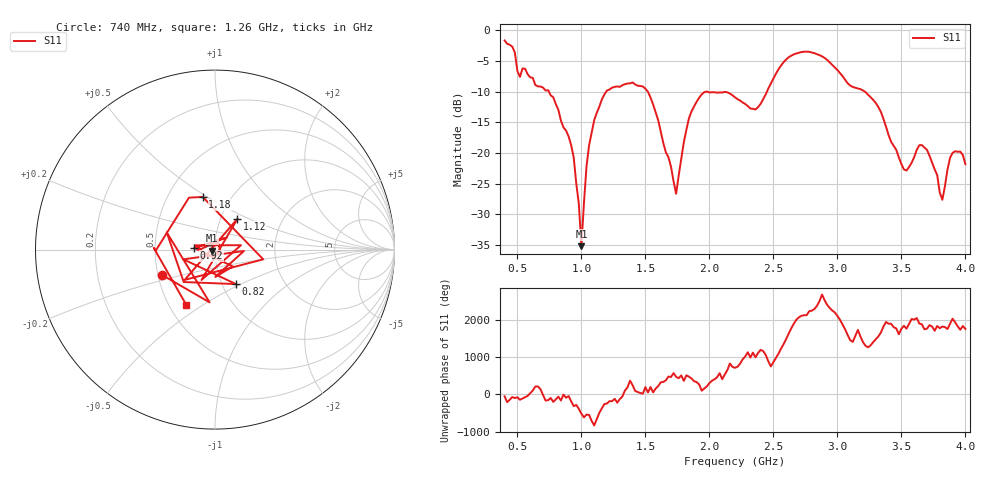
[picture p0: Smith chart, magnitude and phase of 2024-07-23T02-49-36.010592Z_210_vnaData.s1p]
!Created with skrf (http://scikit-rf.org).
# Hz S RI R 50.0
!freq ReS11 ImS11
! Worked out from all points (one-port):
!   181 points, 400 MHz to 4 GHz, reference 50 ohm
!   lowest |S11| = -35.2 dB at 1 GHz (marker M1), VSWR 1.04, Z = 48.4 - j0.582 ohm
!   |S11| at or under -10 dB: 1.52 GHz to 1.974 GHz (454.5 MHz wide, 26 % of centre); 1.984 GHz to 2.449 GHz (465.3 MHz wide, 21 % of centre); 3.216 GHz to end of sweep (the widest 3 of 4)
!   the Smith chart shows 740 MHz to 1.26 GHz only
!   S11 on the Smith chart (normalised r, x): 740 MHz: 0.53, -0.17; 820 MHz: 1.16, -0.47; 920 MHz: 0.79, +0.01; 1.12 GHz: 1.20, +0.43; 1.18 GHz: 0.74, +0.48; 1.26 GHz: 0.61, -0.43
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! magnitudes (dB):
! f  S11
! 400 MHz  -1.6
! 520 MHz  -7.6
! 740 MHz  -9.7
! 820 MHz  -13.0
! 860 MHz  -15.8
! 920 MHz  -18.7
! 980 MHz  -28.3
! 1 GHz  -35.2
! 1.04 GHz  -22.2
! 1.12 GHz  -13.5
! 1.18 GHz  -10.4
! 1.26 GHz  -9.2
! 1.3 GHz  -9.2
! 1.52 GHz  -10.0
! 1.74 GHz  -26.7
! 1.76 GHz  -23.7
! 1.84 GHz  -14.4
! 1.92 GHz  -11.0
! 2.2 GHz  -10.9
! 2.36 GHz  -12.9
! 2.66 GHz  -3.9
! 3.1 GHz  -9.0
! 3.3 GHz  -11.8
! 3.56 GHz  -22.3
! 3.7 GHz  -19.5
! 3.82 GHz  -27.6
! 3.9 GHz  -20.0
! 4 GHz  -21.8
